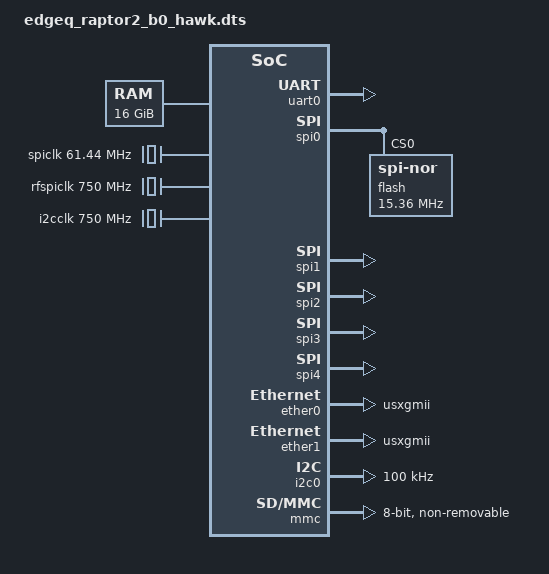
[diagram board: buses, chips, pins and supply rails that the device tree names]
// SPDX-License-Identifier: GPL-2.0+
/dts-v1/;

/ {
	interrupt-parent = <0x8001>;
	#size-cells = <0x2>;
	#address-cells = <0x2>;
	compatible = "linux,dummy-virt";

	aliases {
		spi0 = &spi0;
		spi1 = &spi1;
		spi2 = &spi2;
		spi3 = &spi3;
		spi4 = &spi4;
	};

	/* For Zebu: DDR offset: 32GB, size 16GB */
	memory@400000000 {
		reg = <0x00000008 0x00000000 0x4 0x00000000>;	/* 16GB DDR */
		device_type = "memory";
	};

	cpus {
		#size-cells = <0x0>;
		#address-cells = <0x1>;

		cpu@0 {
			reg = <0x0>;
			compatible = "arm,armv8";
			device_type = "cpu";
			enable-method = "psci";
		};

		cpu@1 {
			reg = <0x1>;
			compatible = "arm,armv8";
			device_type = "cpu";
			enable-method = "psci";
		};
	};

	psci {
		compatible = "arm,psci-1.0", "arm,psci-0.2";
		method = "smc";
	};

	chosen {
		stdout-path = &uart0;
	};

	uart0: serial@6E450000 {
		clock-names = "uartclk";
		reg = <0x0 0x6E450000 0x0 0x1000>;
		compatible = "ns16550a", "ns16550";
		clock-frequency = <750000000>; /* 750MHz */
		reg-shift = <3>;
		reg-offset = <0x40>;    /* Base * 2 */
	};

	spiclk: virt_61mhz {
		#clock-cells = <0>;
		compatible = "fixed-clock";
		clock-frequency = <61440000>;
	};

	rfspiclk: virt_750mhz {
		#clock-cells = <0>;
		compatible = "fixed-clock";
		clock-frequency = <750000000>;
	};

	spi0: spi@6E4d0000 {
		compatible = "andestech,atcspi200";
		reg = <0x0 0x6E4d0000 0x0 0x1000>;
		num-cs = <1>;
		/* interrupts = <0 12 4>; */
		clocks = <&spiclk>;
		#address-cells = <0x1>;
		#size-cells = <0x0>;
		reg-shift = <2>;
		flash@0 {
		     compatible = "jedec,spi-nor";
		     spi-max-frequency = <15360000>;
		     reg = <0>;
		};
	};

	spi1: spi@6E420000 {
		compatible = "andestech,atcspi200";
		reg = <0x0 0x6E420000 0x0 0x1000>;
		num-cs = <1>;
		clocks = <&spiclk>;
		#address-cells = <0x1>;
		#size-cells = <0x0>;
		reg-shift = <2>;
		data-merge;
	};

	spi2: spi@6E430000 {
		compatible = "andestech,atcspi200";
		reg = <0x0 0x6E430000 0x0 0x1000>;
		num-cs = <1>;
		clocks = <&spiclk>;
		#address-cells = <0x1>;
		#size-cells = <0x0>;
		reg-shift = <2>;
	};

	spi3: spi@68490000 {
		compatible = "andestech,atcspi200";
		reg = <0x0 0x68490000 0x0 0x1000>;
		num-cs = <1>;
		clocks = <&spiclk>;
		#address-cells = <0x1>;
		#size-cells = <0x0>;
		reg-shift = <1>;
	};

	spi4: spi@68491000 {
		compatible = "andestech,atcspi200";
		reg = <0x0 0x68491000 0x0 0x1000>;
		num-cs = <1>;
		clocks = <&spiclk>;
		#address-cells = <0x1>;
		#size-cells = <0x0>;
		reg-shift = <1>;
		spi-write-delay-quirk;
	};

	ether0: ethernet@3c040000 {
		compatible = "edgeq,xgbe";
		reg = <0x0 0x3C040000 0x0 0x40000>,	// XGMAC/XLGMAC addr
		      <0x0 0x3C1C0000 0x0 0x40000>,	// XPCS/XLGPCS addr
		      <0x0 0x3C2C0000 0x0 0x10000>;	// MISC addr
		reg-names = "xgmac", "xpcs", "misc";
		max-speed = <10000>;
		phy-mode = "usxgmii";
		phy-addr = <0x0>;
		phy-lane = <0>;
		eth-link = <2>;
		phy-rst-gpio = <6>;
		status = "okay";
	};

	ether1: ethernet@3c080000 {
		compatible = "edgeq,xgbe";
		reg = <0x0 0x3C080000 0x0 0x40000>,	// XGMAC/XLGMAC addr
		      <0x0 0x3C200000 0x0 0x40000>,	// XPCS/XLGPCS addr
		      <0x0 0x3C2C0000 0x0 0x10000>;	// MISC addr
		reg-names = "xgmac", "xpcs", "misc";
		max-speed = <10000>;
		phy-mode = "usxgmii";
		phy-addr = <0x1>;
		phy-lane = <1>;
		eth-link = <2>;
		edgeq,use-i2c;
		status = "okay";
	};

	ether2: ethernet@3c0c0000 {
		compatible = "edgeq,xgbe";
		reg = <0x0 0x3C0C0000 0x0 0x40000>,	// XGMAC/XLGMAC addr
		      <0x0 0x3C240000 0x0 0x40000>,	// XPCS/XLGPCS addr
		      <0x0 0x3C2C0000 0x0 0x10000>;	// MISC addr
		reg-names = "xgmac", "xpcs", "misc";
		max-speed = <10000>;
		phy-mode = "usxgmii";
		phy-addr = <0x1>;
		phy-lane = <2>;
		eth-link = <2>;
		status = "disabled";
	};

	ether3: ethernet@3c100000 {
		compatible = "edgeq,xgbe";
		reg = <0x0 0x3C100000 0x0 0x40000>,	// XGMAC/XLGMAC addr
		      <0x0 0x3C280000 0x0 0x40000>,	// XPCS/XLGPCS addr
		      <0x0 0x3C2C0000 0x0 0x10000>;	// MISC addr
		reg-names = "xgmac", "xpcs", "misc";
		max-speed = <10000>;
		phy-mode = "usxgmii";
		phy-addr = <0x1>;
		phy-lane = <3>;
		eth-link = <2>;
		status = "disabled";
	};

	i2cclk: virt_1500mhz {
		#clock-cells = <0>;
		compatible = "fixed-clock";
		clock-frequency = <750000000>;
	};

	i2c0: i2c@6E400000 {
		status = "okay";
		compatible = "edgeq,raptor2-i2c";
		reg = <0 0x6E400000 0x0 0x1000>;
		clocks = <&i2cclk>;
		clock-frequency = <100000>;
		address-cells = <1>;
		#size-cells = <0>;
		tpm = <20>;
		t_sp = <2>;
		t_sudat = <5>;
		t_hddat = <7>;
		t_sclhi = <174>;
		reg-shift = <2>;
	};

	i2c1: i2c@6E4A0000 {
		status = "disabled";
		compatible = "edgeq,raptor2-i2c";
		reg = <0 0x6E4A0000 0x0 0x1000>;
		clocks = <&i2cclk>;
		clock-frequency = <100000>;
		#address-cells = <1>;
		#size-cells = <0>;
		tpm = <20>;
		t_sp = <2>;
		t_sudat = <5>;
		t_hddat = <7>;
		t_sclhi = <174>;
		reg-shift = <2>;
	};

	i2c2: i2c@6E410000 {
		status = "disabled";
		compatible = "edgeq,raptor2-i2c";
		reg = <0 0x6E410000 0x0 0x1000>;
		clocks = <&i2cclk>;
		clock-frequency = <100000>;
		#address-cells = <1>;
		#size-cells = <0>;
		tpm = <20>;
		t_sp = <2>;
		t_sudat = <5>;
		t_hddat = <7>;
		t_sclhi = <174>;
		reg-shift = <2>;
	};

	ciu: mmcclk-ciu {
		#clock-cells = <0>;
		compatible = "fixed-clock";
		clock-frequency = <46000000>;
	};

	mmc: mmc@6e500000 {
		compatible = "edgeq,raptor2-sdhci";
		reg = <0x0 0x6e500000 0x0 0x1000>;
		bus-width = <8>;
		fifo-depth = <256>;
		clocks = <&ciu>;
		clock-names = "ciu";
		reg-shift = <2>;
		non-removable;
	};
};
